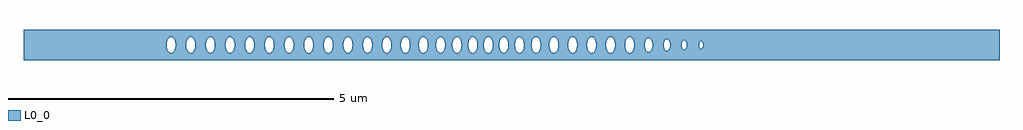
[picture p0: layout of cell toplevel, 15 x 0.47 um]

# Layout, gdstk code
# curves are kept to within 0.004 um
import gdstk
lib = gdstk.Library(unit=1e-6, precision=1e-09)
def P(c, l, *ps):  # polygons
    for p in ps: c.add(gdstk.Polygon(p, *l))
L0_0 = (0, 0)

toplevel = lib.new_cell('toplevel')
P(toplevel, L0_0, [(-4.697,0.016),(-4.685,0.073),(-4.672,0.096),(-4.672,0.235),(-7.5,0.235),(-7.5,-0.016),(-5.302,-0.016),(-5.299,0.038),(-5.289,0.073),(-5.266,0.109),(-5.236,0.124),(-5.21,0.118),(-5.18,0.085),(-5.163,0.031),(-5.162,-0.016),(-5,-0.016),(-4.997,0.038),(-4.987,0.073),(-4.964,0.109),(-4.934,0.124),(-4.908,0.118),(-4.881,0.09),(-4.864,0.046),(-4.859,0.008),(-4.861,-0.031),(-4.875,-0.079),(-4.896,-0.109),(-4.925,-0.124),(-4.951,-0.118),(-4.975,-0.096),(-4.987,-0.073),(-5,-0.016),(-5.162,-0.016),(-5.166,-0.046),(-5.183,-0.09),(-5.198,-0.109),(-5.227,-0.124),(-5.253,-0.118),(-5.277,-0.096),(-5.289,-0.073),(-5.302,-0.016),(-7.5,-0.016),(-7.5,-0.235),(-4.672,-0.235),(-4.672,-0.096),(-4.695,-0.038)],
  [(-4.665,0.105),(-4.632,0.124),(-4.614,0.122),(-4.59,0.105),(-4.566,0.06),(-4.557,-0.008),(-4.396,-0.008),(-4.391,0.046),(-4.374,0.09),(-4.347,0.118),(-4.33,0.124),(-4.312,0.122),(-4.288,0.105),(-4.268,0.073),(-4.258,0.038),(-4.255,-0.008),(-4.258,-0.038),(-4.274,-0.085),(-4.295,-0.112),(-4.321,-0.124),(-4.347,-0.118),(-4.374,-0.09),(-4.391,-0.046),(-4.396,-0.008),(-4.557,-0.008),(-4.568,-0.066),(-4.594,-0.109),(-4.614,-0.122),(-4.632,-0.124),(-4.658,-0.112),(-4.672,-0.096),(-4.672,-0.235),(-3.997,-0.235),(-3.997,-0.115),(-4.028,-0.124),(-4.061,-0.105),(-4.083,-0.066),(-4.094,-0.008),(-4.089,0.046),(-4.065,0.1),(-4.045,0.118),(-4.028,0.124),(-3.997,0.115),(-3.997,0.235),(-4.672,0.235),(-4.672,0.096)],
  [(-3.997,0.235),(-3.997,0.115),(-3.978,0.096),(-3.966,0.073),(-3.956,0.038),(-3.953,-0.008),(-3.792,-0.008),(-3.79,0.031),(-3.776,0.079),(-3.755,0.109),(-3.726,0.124),(-3.7,0.118),(-3.676,0.096),(-3.664,0.073),(-3.651,0.016),(-3.654,-0.038),(-3.664,-0.073),(-3.687,-0.109),(-3.717,-0.124),(-3.743,-0.118),(-3.77,-0.09),(-3.787,-0.046),(-3.792,-0.008),(-3.953,-0.008),(-3.966,-0.073),(-3.978,-0.096),(-3.997,-0.115),(-3.997,-0.235),(-3.352,-0.235),(-3.352,-0.039),(-3.362,-0.073),(-3.381,-0.105),(-3.406,-0.122),(-3.424,-0.124),(-3.453,-0.109),(-3.471,-0.085),(-3.485,-0.046),(-3.49,-0.008),(-3.485,0.046),(-3.474,0.079),(-3.457,0.105),(-3.432,0.122),(-3.406,0.122),(-3.381,0.105),(-3.362,0.073),(-3.352,0.038),(-3.352,0.235)],
  [(-3.35,-0.023),(-3.352,-0.235),(-2.573,-0.235),(-2.573,-0.066),(-2.583,-0.016),(-2.573,0.066),(-2.573,0.235),(-3.352,0.235),(-3.349,0),(-3.188,0),(-3.183,0.046),(-3.169,0.085),(-3.151,0.109),(-3.122,0.124),(-3.095,0.118),(-3.072,0.096),(-3.053,0.053),(-3.047,0),(-2.886,0),(-2.877,0.06),(-2.857,0.1),(-2.828,0.122),(-2.793,0.118),(-2.77,0.096),(-2.753,0.06),(-2.745,-0.016),(-2.751,-0.053),(-2.764,-0.085),(-2.781,-0.109),(-2.802,-0.122),(-2.833,-0.12),(-2.86,-0.096),(-2.881,-0.046),(-2.886,0),(-3.047,0),(-3.053,-0.053),(-3.066,-0.085),(-3.083,-0.109),(-3.113,-0.124),(-3.139,-0.118),(-3.169,-0.085),(-3.183,-0.046),(-3.188,0),(-3.349,0)],
  [(-2.564,0.085),(-2.535,0.118),(-2.5,0.122),(-2.475,0.105),(-2.456,0.073),(-2.446,0.038),(-2.443,-0.008),(-2.283,-0.008),(-2.278,0.046),(-2.261,0.09),(-2.234,0.118),(-2.217,0.124),(-2.199,0.122),(-2.178,0.109),(-2.155,0.073),(-2.145,0.038),(-2.142,-0.016),(-2.155,-0.073),(-2.167,-0.096),(-2.186,-0.115),(-2.208,-0.124),(-2.234,-0.118),(-2.261,-0.09),(-2.278,-0.046),(-2.283,-0.008),(-2.443,-0.008),(-2.449,-0.053),(-2.462,-0.085),(-2.479,-0.109),(-2.504,-0.123),(-2.526,-0.122),(-2.547,-0.109),(-2.573,-0.067),(-2.573,-0.235),(-1.912,-0.235),(-1.912,-0.124),(-1.938,-0.118),(-1.962,-0.096),(-1.974,-0.073),(-1.987,-0.016),(-1.984,0.038),(-1.968,0.085),(-1.943,0.115),(-1.912,0.124),(-1.912,0.235),(-2.573,0.235),(-2.573,0.066)],
  [(-1.424,0.016),(-1.406,0.085),(-1.388,0.109),(-1.368,0.122),(-1.341,0.122),(-1.32,0.109),(-1.295,0.066),(-1.295,0.235),(-1.912,0.235),(-1.912,0.124),(-1.883,0.109),(-1.862,0.079),(-1.848,0.031),(-1.847,-0.016),(-1.7,-0.016),(-1.697,0.038),(-1.687,0.073),(-1.664,0.109),(-1.634,0.124),(-1.608,0.118),(-1.585,0.096),(-1.568,0.06),(-1.56,0.016),(-1.564,-0.046),(-1.573,-0.073),(-1.596,-0.109),(-1.626,-0.124),(-1.652,-0.118),(-1.675,-0.096),(-1.692,-0.06),(-1.7,-0.016),(-1.847,-0.016),(-1.851,-0.046),(-1.868,-0.09),(-1.883,-0.109),(-1.912,-0.124),(-1.912,-0.235),(-1.295,-0.235),(-1.295,-0.067),(-1.309,-0.096),(-1.328,-0.115),(-1.35,-0.124),(-1.376,-0.118),(-1.399,-0.096),(-1.414,-0.066),(-1.424,-0.023)],
  [(-0.66,-0.235),(-0.66,-0.046),(-0.665,-0.008),(-0.66,0.235),(-1.295,0.235),(-1.295,0.066),(-1.286,0.031),(-1.284,-0.016),(-1.161,-0.016),(-1.158,0.038),(-1.148,0.073),(-1.125,0.109),(-1.095,0.124),(-1.069,0.118),(-1.042,0.09),(-1.025,0.046),(-1.02,0),(-0.909,0),(-0.904,0.046),(-0.889,0.085),(-0.872,0.109),(-0.843,0.124),(-0.816,0.118),(-0.793,0.096),(-0.776,0.06),(-0.768,0.016),(-0.771,-0.038),(-0.781,-0.073),(-0.804,-0.109),(-0.834,-0.124),(-0.86,-0.118),(-0.883,-0.096),(-0.904,-0.046),(-0.909,0),(-1.02,0),(-1.025,-0.046),(-1.039,-0.085),(-1.057,-0.109),(-1.086,-0.124),(-1.112,-0.118),(-1.136,-0.096),(-1.148,-0.073),(-1.161,-0.016),(-1.284,-0.016),(-1.295,-0.066),(-1.295,-0.235)],
  [(-0.656,0.06),(-0.628,0.109),(-0.608,0.122),(-0.581,0.122),(-0.56,0.109),(-0.537,0.073),(-0.526,0.031),(-0.525,-0.016),(-0.426,-0.016),(-0.423,0.038),(-0.407,0.085),(-0.378,0.118),(-0.351,0.124),(-0.322,0.109),(-0.304,0.085),(-0.29,0.046),(-0.285,0),(-0.29,-0.046),(-0.304,-0.085),(-0.322,-0.109),(-0.351,-0.124),(-0.378,-0.118),(-0.401,-0.096),(-0.418,-0.06),(-0.426,-0.016),(-0.525,-0.016),(-0.529,-0.046),(-0.546,-0.09),(-0.56,-0.109),(-0.59,-0.124),(-0.608,-0.122),(-0.632,-0.105),(-0.649,-0.079),(-0.66,-0.046),(-0.66,-0.235),(-0.14,-0.235),(-0.14,-0.118),(-0.164,-0.096),(-0.176,-0.073),(-0.189,-0.016),(-0.186,0.038),(-0.176,0.073),(-0.164,0.096),(-0.14,0.118),(-0.14,0.235),(-0.66,0.235),(-0.66,0.046)],
  [(-0.127,0.123),(-0.097,0.118),(-0.07,0.09),(-0.053,0.046),(-0.048,0),(0.052,0),(0.057,0.046),(0.078,0.096),(0.105,0.12),(0.136,0.122),(0.161,0.105),(0.18,0.073),(0.19,0.038),(0.193,-0.016),(0.185,-0.06),(0.168,-0.096),(0.145,-0.118),(0.118,-0.124),(0.089,-0.109),(0.071,-0.085),(0.057,-0.046),(0.052,0),(-0.048,0),(-0.057,-0.06),(-0.077,-0.1),(-0.105,-0.122),(-0.123,-0.124),(-0.14,-0.118),(-0.14,-0.235),(0.419,-0.235),(0.419,-0.1),(0.4,-0.118),(0.382,-0.124),(0.365,-0.122),(0.344,-0.109),(0.318,-0.066),(0.307,0),(0.318,0.066),(0.344,0.109),(0.365,0.122),(0.382,0.124),(0.4,0.118),(0.419,0.1),(0.419,0.235),(-0.14,0.235),(-0.14,0.118)],
  [(0.869,0.016),(0.887,0.085),(0.905,0.109),(0.934,0.124),(0.961,0.118),(0.984,0.096),(1.001,0.06),(1.008,0.023),(1.008,0.235),(0.419,0.235),(0.419,0.1),(0.442,0.053),(0.448,-0.008),(0.581,-0.008),(0.583,0.031),(0.597,0.079),(0.618,0.109),(0.647,0.124),(0.678,0.115),(0.7,0.09),(0.717,0.046),(0.722,0.008),(0.719,-0.038),(0.709,-0.073),(0.686,-0.109),(0.656,-0.124),(0.63,-0.118),(0.603,-0.09),(0.586,-0.046),(0.581,-0.008),(0.448,-0.008),(0.44,-0.06),(0.419,-0.1),(0.419,-0.235),(1.008,-0.235),(1.008,-0.026),(0.996,-0.073),(0.977,-0.105),(0.952,-0.122),(0.926,-0.122),(0.901,-0.105),(0.879,-0.066)],
  [(1.765,-0.235),(1.765,-0.085),(1.746,-0.016),(1.749,0.038),(1.765,0.085),(1.765,0.235),(1.008,0.235),(1.009,-0.016),(1.16,-0.016),(1.163,0.038),(1.173,0.073),(1.196,0.109),(1.226,0.124),(1.252,0.118),(1.279,0.09),(1.296,0.046),(1.301,0),(1.451,0),(1.456,0.046),(1.47,0.085),(1.488,0.109),(1.517,0.124),(1.544,0.118),(1.567,0.096),(1.584,0.06),(1.592,0.016),(1.589,-0.038),(1.579,-0.073),(1.556,-0.109),(1.526,-0.124),(1.5,-0.118),(1.47,-0.085),(1.456,-0.046),(1.451,0),(1.301,0),(1.296,-0.046),(1.282,-0.085),(1.264,-0.109),(1.235,-0.124),(1.209,-0.118),(1.185,-0.096),(1.173,-0.073),(1.16,-0.016),(1.009,-0.016),(1.008,-0.235)],
  [(2.338,0.012),(2.349,0.059),(2.369,0.086),(2.391,0.092),(2.415,0.078),(2.415,0.235),(1.765,0.235),(1.765,0.085),(1.782,0.109),(1.803,0.122),(1.83,0.122),(1.85,0.109),(1.878,0.06),(1.886,-0.014),(2.048,-0.014),(2.059,0.064),(2.082,0.098),(2.104,0.108),(2.127,0.103),(2.15,0.079),(2.163,0.046),(2.169,0.007),(2.166,-0.033),(2.155,-0.069),(2.134,-0.098),(2.112,-0.108),(2.089,-0.103),(2.067,-0.079),(2.053,-0.046),(2.048,-0.014),(1.886,-0.014),(1.868,-0.085),(1.85,-0.109),(1.83,-0.122),(1.812,-0.124),(1.795,-0.118),(1.765,-0.085),(1.765,-0.235),(2.415,-0.235),(2.415,-0.078),(2.391,-0.092),(2.372,-0.088),(2.361,-0.078),(2.342,-0.039)],
  [(2.437,-0.023),(2.431,-0.049),(2.415,-0.078),(2.415,-0.235),(7.5,-0.235),(7.5,0.235),(2.415,0.235),(2.415,0.078),(2.434,0.039),(2.438,-0.014),(2.615,-0.014),(2.621,0.041),(2.636,0.067),(2.653,0.076),(2.673,0.069),(2.685,0.052),(2.696,-0.004),(2.884,-0.004),(2.891,0.038),(2.911,0.06),(2.932,0.051),(2.946,0.008),(2.938,-0.041),(2.919,-0.06),(2.897,-0.049),(2.884,-0.004),(2.696,-0.004),(2.685,-0.052),(2.673,-0.069),(2.658,-0.076),(2.645,-0.074),(2.632,-0.062),(2.615,-0.014),(2.438,-0.014)])

lib.write_gds('toplevel.gds')
